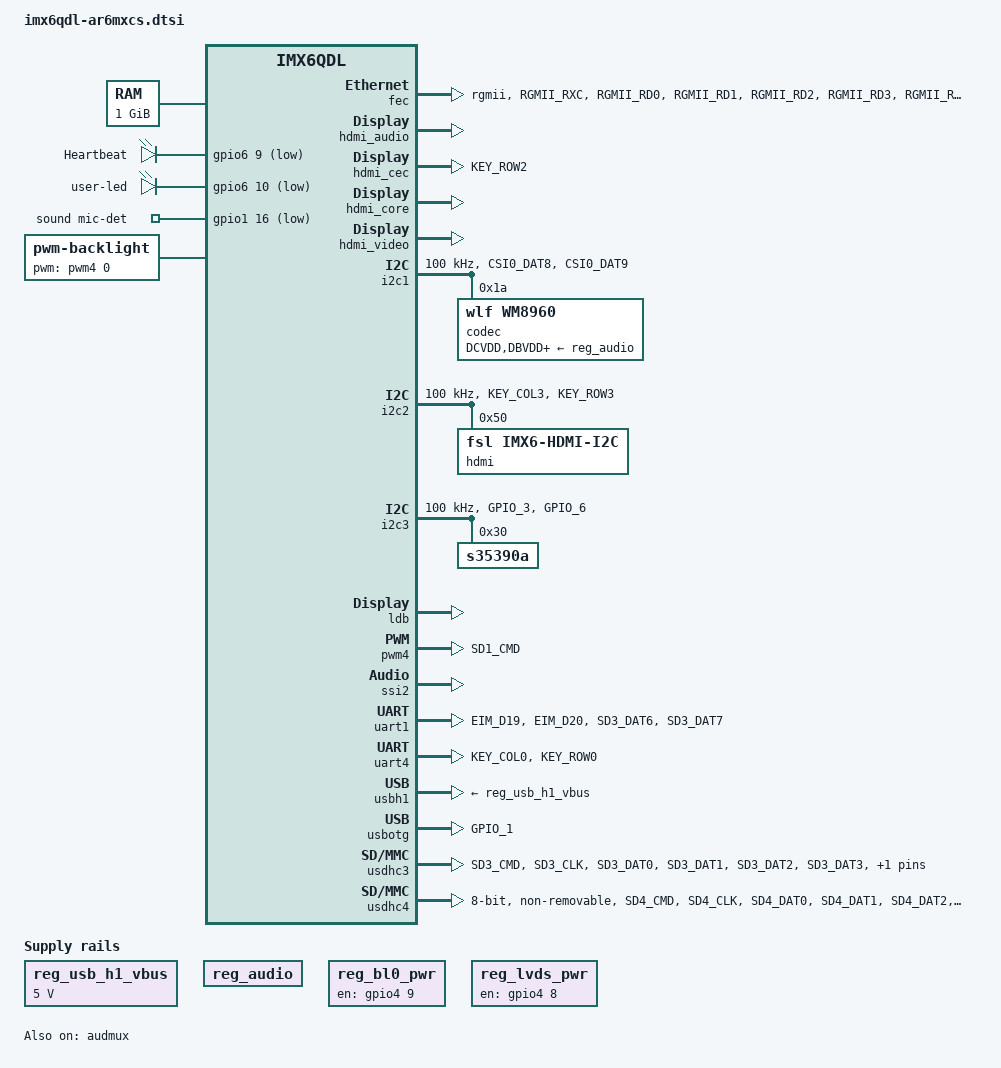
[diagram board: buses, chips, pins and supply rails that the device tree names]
/*
 * Copyright 2014 BCM Advanced Research
 *
 * The code contained herein is licensed under the GNU General Public
 * License. You may obtain a copy of the GNU General Public License
 * Version 2 or later at the following locations:
 *
 * http://www.opensource.org/licenses/gpl-license.html
 * http://www.gnu.org/copyleft/gpl.html
 */

/ {
	aliases {
		mxcfb0 = &mxcfb1;
		mxcfb1 = &mxcfb2;
		mxcfb2 = &mxcfb3;
		mxcfb3 = &mxcfb4;

		vesa_1024x768 = &vesa_1024x768;
		fg_1024x600 = &fg_1024x600;
		vesa_1024x768_2 = &vesa_1024x768_2;
		fg_1024x600_2 = &fg_1024x600_2;
	};

	memory {
		reg = <0x10000000 0x40000000>;
	};

	leds {
		compatible = "gpio-leds";

		heartbeat-led {
			label = "Heartbeat";
			gpios = <&gpio6 9 1>;
			linux,default-trigger = "heartbeat";
		};
		user-led {
			label = "user-led";
			gpios = <&gpio6 10 1>;
			default-state = "off";
		};
	};

	regulators {
		compatible = "simple-bus";

		reg_usb_h1_vbus: usb_h1_vbus {
			compatible = "regulator-fixed";
			regulator-name = "usb_h1_vbus";
			regulator-min-microvolt = <5000000>;
			regulator-max-microvolt = <5000000>;
		};

		reg_audio: wm8960_supply {
			compatible = "regulator-fixed";
			regulator-name = "wm8960-supply";
			regulator-always-on;
		};

		reg_bl0_pwr: bl0_pwr {
			compatible = "regulator-fixed";
			regulator-name = "bl0_pwr";
			gpio = <&gpio4 9 0>;
			enable-active-high;
			regulator-always-on;
			regulator-boot-on;
		};

		reg_lvds_pwr: lvds_pwr {
			compatible = "regulator-fixed";
			regulator-name = "lvds_pwr";
			gpio = <&gpio4 8 0>;
			enable-active-high;
			regulator-always-on;
			regulator-boot-on;
		};
	};

	gpio-keys {
		compatible = "gpio-keys";
	};

	sound {
		compatible = "fsl,imx6q-ar6mx-wm8960",
			   "fsl,imx-audio-wm8960";
		model = "wm8960-audio";
		cpu-dai = <&ssi2>;
		audio-codec = <&codec>;
		codec-master;
		hp-det = <4 0>;
		audio-routing =
			"Headset Jack", "HP_L",
			"Headset Jack", "HP_R",
			"LINPUT1", "MICB";
		mux-int-port = <2>;
		mux-ext-port = <3>;
		mic-det-gpios = <&gpio1 16 1>;
	};

	sound-hdmi {
		compatible = "fsl,imx6q-audio-hdmi",
			     "fsl,imx-audio-hdmi";
		model = "imx-audio-hdmi";
		hdmi-controller = <&hdmi_audio>;
	};

	mxcfb1: fb@0 {
		compatible = "fsl,mxc_sdc_fb";
		disp_dev = "ldb";
		interface_pix_fmt = "RGB666";
		mode_str ="LDB-XGA";
		default_bpp = <16>;
		int_clk = <0>;
		late_init = <0>;
		status = "disabled";
	};

	mxcfb2: fb@1 {
		compatible = "fsl,mxc_sdc_fb";
		disp_dev = "hdmi";
		interface_pix_fmt = "RGB24";
		mode_str ="1920x1080M@60";
		default_bpp = <24>;
		int_clk = <0>;
		late_init = <0>;
		status = "disabled";
	};

	mxcfb3: fb@2 {
		compatible = "fsl,mxc_sdc_fb";
		disp_dev = "lcd";
		interface_pix_fmt = "RGB565";
		mode_str ="CLAA-WVGA";
		default_bpp = <16>;
		int_clk = <0>;
		late_init = <0>;
		status = "disabled";
	};

	mxcfb4: fb@3 {
		compatible = "fsl,mxc_sdc_fb";
		disp_dev = "ldb";
		interface_pix_fmt = "RGB666";
		mode_str ="LDB-XGA";
		default_bpp = <16>;
		int_clk = <0>;
		late_init = <0>;
		status = "disabled";
	};

	lcd@0 {
		compatible = "fsl,lcd";
		ipu_id = <0>;
		disp_id = <0>;
		default_ifmt = "RGB565";
		pinctrl-names = "default";
		pinctrl-0 = <&pinctrl_ipu1>;
		status = "okay";
	};

	backlight {
		compatible = "pwm-backlight";
		pwms = <&pwm4 0 5000000>;
		brightness-levels = <0 4 8 16 32 64 128 255>;
		default-brightness-level = <7>;
	};

	v4l2_cap_0 {
		compatible = "fsl,imx6q-v4l2-capture";
		ipu_id = <0>;
		csi_id = <0>;
		mclk_source = <0>;
		status = "okay";
	};

	v4l2_cap_1 {
		compatible = "fsl,imx6q-v4l2-capture";
		ipu_id = <0>;
		csi_id = <1>;
		mclk_source = <0>;
		status = "okay";
	};

	v4l2_out {
		compatible = "fsl,mxc_v4l2_output";
		status = "okay";
	};

};

&audmux {
	pinctrl-names = "default";
	pinctrl-0 = <&pinctrl_audmux>;
	status = "okay";
};

&cpu0 {
	arm-supply = <&sw1a_reg>;
	soc-supply = <&sw1c_reg>;
	pu-supply = <&pu_dummy>; /* use pu_dummy if VDDSOC share with VDDPU */
};

&fec {
	pinctrl-names = "default";
	pinctrl-0 = <&pinctrl_enet>;
	phy-mode = "rgmii";
	status = "okay";
};

&gpc {
	fsl,ldo-bypass = <1>; /* use ldo-bypass, u-boot will check it and configure */
	fsl,wdog-reset = <2>; /* watchdog select of reset source */
	pu-supply = <&pu_dummy>; /* ldo-bypass:use pu_dummy if VDDSOC share with VDDPU */
};

&hdmi_audio {
	status = "okay";
};

&hdmi_cec {
	pinctrl-names = "default";
	pinctrl-0 = <&pinctrl_hdmi_cec>;
	status = "okay";
};

&hdmi_core {
	ipu_id = <0>;
	disp_id = <0>;
	status = "okay";
};

&hdmi_video {
	fsl,phy_reg_vlev = <0x0294>;
	fsl,phy_reg_cksymtx = <0x800d>;
	status = "okay";
};

&i2c1 {
	clock-frequency = <100000>;
	pinctrl-names = "default";
	pinctrl-0 = <&pinctrl_i2c1>;
	status = "okay";

	codec: wm8960@1a {
		compatible = "wlf,wm8960";
		reg = <0x1a>;
		clocks = <&clks 201>;
		DCVDD-supply = <&reg_audio>;
		DBVDD-supply = <&reg_audio>;
		AVDD-supply = <&reg_audio>;
		MICVDD-supply = <&reg_audio>;
		clock-names = "mclk";
		wlf,shared_lrclk;
  };
};

&i2c2 {
	clock-frequency = <100000>;
	pinctrl-names = "default";
	pinctrl-0 = <&pinctrl_i2c2>;
	status = "okay";

	hdmi: edid@50 {
		compatible = "fsl,imx6-hdmi-i2c";
		reg = <0x50>;
	};
};

&i2c3 {
        clock-frequency = <100000>;
        pinctrl-names = "default";
        pinctrl-0 = <&pinctrl_i2c3>;
        status = "okay";

	s35390a: s35390a@30 {
		compatible = "s35390a";
		reg = <0x30>;
	};
};

&iomuxc {
	pinctrl-names = "default";
	pinctrl-0 = <&pinctrl_hog_1>;

	imx6qdl-ar6mxcs {
		pinctrl_hog_1: hoggrp-1 {
			fsl,pins = <
				MX6QDL_PAD_SD3_DAT5__GPIO7_IO00   0x80000000
				MX6QDL_PAD_NANDF_D0__GPIO2_IO00 0x80000000
				MX6QDL_PAD_NANDF_D1__GPIO2_IO01 0x80000000
				MX6QDL_PAD_NANDF_D2__GPIO2_IO02 0x80000000
				MX6QDL_PAD_NANDF_D3__GPIO2_IO03 0x80000000
				MX6QDL_PAD_NANDF_D4__GPIO2_IO04 0x80000000
				MX6QDL_PAD_NANDF_D5__GPIO2_IO05 0x80000000
				MX6QDL_PAD_NANDF_D6__GPIO2_IO06 0x80000000
				MX6QDL_PAD_NANDF_D7__GPIO2_IO07 0x80000000
				MX6QDL_PAD_NANDF_ALE__GPIO6_IO08 0x80000000
				MX6QDL_PAD_NANDF_WP_B__GPIO6_IO09 0x80000000
				MX6QDL_PAD_NANDF_RB0__GPIO6_IO10 0x80000000
				MX6QDL_PAD_NANDF_CLE__GPIO6_IO07 0x80000000
				MX6QDL_PAD_NANDF_CS2__GPIO6_IO15 0x80000000
				MX6QDL_PAD_NANDF_CS3__GPIO6_IO16 0x80000000
				MX6QDL_PAD_ENET_RXD0__GPIO1_IO27 0x80000000
				MX6QDL_PAD_NANDF_CS0__GPIO6_IO11 0x80000000
				MX6QDL_PAD_GPIO_4__GPIO1_IO04 0x80000000
				MX6QDL_PAD_GPIO_5__GPIO1_IO05 0x80000000
				MX6QDL_PAD_GPIO_9__GPIO1_IO09 0x80000000
				MX6QDL_PAD_GPIO_2__GPIO1_IO02 0x80000000
				MX6QDL_PAD_CSI0_MCLK__CCM_CLKO1    0x130b0
				MX6QDL_PAD_SD1_DAT0__GPIO1_IO16 0x80000000
				MX6QDL_PAD_SD1_CLK__GPIO1_IO20 0x80000000
			>;
		};

		pinctrl_audmux: audmuxgrp {
			fsl,pins = <
				MX6QDL_PAD_CSI0_DAT7__AUD3_RXD		0x130b0
				MX6QDL_PAD_CSI0_DAT4__AUD3_TXC		0x130b0
				MX6QDL_PAD_CSI0_DAT5__AUD3_TXD		0x110b0
				MX6QDL_PAD_CSI0_DAT6__AUD3_TXFS		0x130b0
			>;
		};

		pinctrl_enet: enetgrp {
			fsl,pins = <
				MX6QDL_PAD_RGMII_RXC__RGMII_RXC	        0x1b0b0
				MX6QDL_PAD_RGMII_RD0__RGMII_RD0	        0x1b0b0
				MX6QDL_PAD_RGMII_RD1__RGMII_RD1	        0x1b0b0
				MX6QDL_PAD_RGMII_RD2__RGMII_RD2	        0x1b0b0
				MX6QDL_PAD_RGMII_RD3__RGMII_RD3	        0x1b0b0
				MX6QDL_PAD_RGMII_RX_CTL__RGMII_RX_CTL   0x1b0b0
				MX6QDL_PAD_RGMII_TXC__RGMII_TXC	        0x1b0b0
				MX6QDL_PAD_RGMII_TD0__RGMII_TD0	        0x1b0b0
				MX6QDL_PAD_RGMII_TD1__RGMII_TD1	        0x1b0b0
				MX6QDL_PAD_RGMII_TD2__RGMII_TD2	        0x1b0b0
				MX6QDL_PAD_RGMII_TD3__RGMII_TD3	        0x1b0b0
				MX6QDL_PAD_RGMII_TX_CTL__RGMII_TX_CTL   0x1b0b0
				MX6QDL_PAD_ENET_REF_CLK__ENET_TX_CLK	0x1b0b0
				MX6QDL_PAD_ENET_MDIO__ENET_MDIO	        0x1b0b0
				MX6QDL_PAD_ENET_MDC__ENET_MDC	        0x1b0b0
				MX6QDL_PAD_ENET_CRS_DV__GPIO1_IO25      0x80000000/* GE_nRST	*/
				MX6QDL_PAD_ENET_RXD1__GPIO1_IO26	    0x80000000/* CSI_RST_B  */
				MX6QDL_PAD_ENET_TX_EN__GPIO1_IO28       0x80000000/* PHY_INT	*/
			>;
		};

		pinctrl_hdmi_cec: hdmicecgrp {
			fsl,pins = <
				MX6QDL_PAD_KEY_ROW2__HDMI_TX_CEC_LINE 0x1f8b0
			>;
		};

		pinctrl_i2c1: i2c1grp {
			fsl,pins = <
				MX6QDL_PAD_CSI0_DAT8__I2C1_SDA		0x4001b8b1
				MX6QDL_PAD_CSI0_DAT9__I2C1_SCL		0x4001b8b1
			>;
		};

		pinctrl_i2c2: i2c2grp {
			fsl,pins = <
				MX6QDL_PAD_KEY_COL3__I2C2_SCL		0x4001b8b1
				MX6QDL_PAD_KEY_ROW3__I2C2_SDA		0x4001b8b1
			 >;
		};

		pinctrl_i2c3: i2c3grp {
			fsl,pins = <
				MX6QDL_PAD_GPIO_3__I2C3_SCL		0x4001b8b1
				MX6QDL_PAD_GPIO_6__I2C3_SDA		0x4001b8b1
			>;
		};

		pinctrl_ipu1: ipu1grp {
			fsl,pins = <
				MX6QDL_PAD_DI0_DISP_CLK__IPU1_DI0_DISP_CLK 0x10
				MX6QDL_PAD_DI0_PIN15__IPU1_DI0_PIN15       0x10
				MX6QDL_PAD_DI0_PIN2__IPU1_DI0_PIN02        0x10
				MX6QDL_PAD_DI0_PIN3__IPU1_DI0_PIN03        0x10
				MX6QDL_PAD_DI0_PIN4__IPU1_DI0_PIN04        0x80000000
				MX6QDL_PAD_DISP0_DAT0__IPU1_DISP0_DATA00   0x10
				MX6QDL_PAD_DISP0_DAT1__IPU1_DISP0_DATA01   0x10
				MX6QDL_PAD_DISP0_DAT2__IPU1_DISP0_DATA02   0x10
				MX6QDL_PAD_DISP0_DAT3__IPU1_DISP0_DATA03   0x10
				MX6QDL_PAD_DISP0_DAT4__IPU1_DISP0_DATA04   0x10
				MX6QDL_PAD_DISP0_DAT5__IPU1_DISP0_DATA05   0x10
				MX6QDL_PAD_DISP0_DAT6__IPU1_DISP0_DATA06   0x10
				MX6QDL_PAD_DISP0_DAT7__IPU1_DISP0_DATA07   0x10
				MX6QDL_PAD_DISP0_DAT8__IPU1_DISP0_DATA08   0x10
				MX6QDL_PAD_DISP0_DAT9__IPU1_DISP0_DATA09   0x10
				MX6QDL_PAD_DISP0_DAT10__IPU1_DISP0_DATA10  0x10
				MX6QDL_PAD_DISP0_DAT11__IPU1_DISP0_DATA11  0x10
				MX6QDL_PAD_DISP0_DAT12__IPU1_DISP0_DATA12  0x10
				MX6QDL_PAD_DISP0_DAT13__IPU1_DISP0_DATA13  0x10
				MX6QDL_PAD_DISP0_DAT14__IPU1_DISP0_DATA14  0x10
				MX6QDL_PAD_DISP0_DAT15__IPU1_DISP0_DATA15  0x10
				MX6QDL_PAD_DISP0_DAT16__IPU1_DISP0_DATA16  0x10
				MX6QDL_PAD_DISP0_DAT17__IPU1_DISP0_DATA17  0x10
				MX6QDL_PAD_DISP0_DAT18__IPU1_DISP0_DATA18  0x10
				MX6QDL_PAD_DISP0_DAT19__IPU1_DISP0_DATA19  0x10
				MX6QDL_PAD_DISP0_DAT20__IPU1_DISP0_DATA20  0x10
				MX6QDL_PAD_DISP0_DAT21__IPU1_DISP0_DATA21  0x10
				MX6QDL_PAD_DISP0_DAT22__IPU1_DISP0_DATA22  0x10
				MX6QDL_PAD_DISP0_DAT23__IPU1_DISP0_DATA23  0x10
			>;
		};

		pinctrl_pwm4: pwm4grp {
			fsl,pins = <
				MX6QDL_PAD_SD1_CMD__PWM4_OUT 0x1b0b1
			>;
		};

		pinctrl_uart1: uart1grp {
		fsl,pins = <
			MX6QDL_PAD_EIM_D19__UART1_CTS_B     0x1b0b1
			MX6QDL_PAD_EIM_D20__UART1_RTS_B     0x1b0b1
			MX6QDL_PAD_SD3_DAT6__UART1_RX_DATA  0x1b0b1
			MX6QDL_PAD_SD3_DAT7__UART1_TX_DATA  0x1b0b1
			>;
		};

		pinctrl_uart4: uart4grp {
			fsl,pins = <
				MX6QDL_PAD_KEY_COL0__UART4_TX_DATA  0x1b0b1
				MX6QDL_PAD_KEY_ROW0__UART4_RX_DATA  0x1b0b1
			>;
		};

		pinctrl_usbotg: usbotggrp {
			fsl,pins = <
				MX6QDL_PAD_GPIO_1__USB_OTG_ID	0x17059
			>;
		};

		pinctrl_usdhc3: usdhc3grp {
			fsl,pins = <
				MX6QDL_PAD_SD3_CMD__SD3_CMD       0x17059
				MX6QDL_PAD_SD3_CLK__SD3_CLK       0x10059
				MX6QDL_PAD_SD3_DAT0__SD3_DATA0    0x17059
				MX6QDL_PAD_SD3_DAT1__SD3_DATA1    0x17059
				MX6QDL_PAD_SD3_DAT2__SD3_DATA2    0x17059
				MX6QDL_PAD_SD3_DAT3__SD3_DATA3    0x17059
			>;
		};

		pinctrl_usdhc4: usdhc4grp {
			fsl,pins = <
				MX6QDL_PAD_SD4_CMD__SD4_CMD		0x17059
				MX6QDL_PAD_SD4_CLK__SD4_CLK		0x10059
				MX6QDL_PAD_SD4_DAT0__SD4_DATA0		0x17059
				MX6QDL_PAD_SD4_DAT1__SD4_DATA1		0x17059
				MX6QDL_PAD_SD4_DAT2__SD4_DATA2		0x17059
				MX6QDL_PAD_SD4_DAT3__SD4_DATA3		0x17059
				MX6QDL_PAD_SD4_DAT4__SD4_DATA4		0x17059
				MX6QDL_PAD_SD4_DAT5__SD4_DATA5		0x17059
				MX6QDL_PAD_SD4_DAT6__SD4_DATA6		0x17059
				MX6QDL_PAD_SD4_DAT7__SD4_DATA7		0x17059
			>;
		};

	};
};

&ldb {
	status = "okay";

	lvds-channel@0 {
		fsl,data-mapping = "spwg";
		fsl,data-width = <18>;
		primary;
		status = "okay";

		display-timings {
			fg_1024x600: FG100131DNSWAGL1 {
				clock-frequency = <50400000>;
				hactive = <1024>;
				vactive = <600>;
				hback-porch = <220>;
				hfront-porch = <40>;
				vback-porch = <5>;
				vfront-porch = <10>;
				hsync-len = <60>;
				vsync-len = <10>;
			};
			vesa_1024x768: hsd100pxn1 {
				clock-frequency = <65000000>;
				hactive = <1024>;
				vactive = <768>;
				hback-porch = <220>;
				hfront-porch = <40>;
				vback-porch = <21>;
				vfront-porch = <7>;
				hsync-len = <60>;
				vsync-len = <10>;
			};
			g070_800x480: g070y2-l01 {
				clock-frequency = <29500000>;
				hactive = <800>;
				vactive = <480>;
				hback-porch = <72>;
				hfront-porch = <60>;
				vback-porch = <5>;
				vfront-porch = <5>;
				hsync-len = <60>;
				vsync-len = <10>;
			};
		};
	};

	lvds-channel@1 {
		fsl,data-mapping = "spwg";
		fsl,data-width = <18>;
		status = "okay";

		display-timings {
			fg_1024x600_2: FG100131DNSWAGL1_2 {
				clock-frequency = <50400000>;
				hactive = <1024>;
				vactive = <600>;
				hback-porch = <220>;
				hfront-porch = <40>;
				vback-porch = <5>;
				vfront-porch = <10>;
				hsync-len = <60>;
				vsync-len = <10>;
			};
			vesa_1024x768_2: hsd100pxn1_2 {
				clock-frequency = <65000000>;
				hactive = <1024>;
				vactive = <768>;
				hback-porch = <220>;
				hfront-porch = <40>;
				vback-porch = <21>;
				vfront-porch = <7>;
				hsync-len = <60>;
				vsync-len = <10>;
			};
		};
	};
};


&pcie {
	reset-gpio = <&gpio7 11 0>;
	status = "disabled";
};


&pwm4 {
	pinctrl-names = "default";
	pinctrl-0 = <&pinctrl_pwm4>;
	status = "okay";
};

&ssi2 {
	fsl,mode = "i2s-slave";
	status = "okay";
};

&uart1 {
	pinctrl-names = "default";
	pinctrl-0 = <&pinctrl_uart1>;
	status = "okay";
};

&uart4 {
	pinctrl-names = "default";
	pinctrl-0 = <&pinctrl_uart4>;
	status = "okay";
};

&usbh1 {
	vbus-supply = <&reg_usb_h1_vbus>;
	status = "okay";
};

&usbotg {
	pinctrl-names = "default";
	pinctrl-0 = <&pinctrl_usbotg>;
	disable-over-current;
	status = "okay";
};

&usdhc3 {
	pinctrl-names = "default";
	pinctrl-0 = <&pinctrl_usdhc3>;
	cd-gpios = <&gpio7 0 0>;
	no-1-8-v;
	keep-power-in-suspend;
	enable-sdio-wakeup;
	status = "okay";
};

&usdhc4 {
        pinctrl-names = "default";
        pinctrl-0 = <&pinctrl_usdhc4>;
        bus-width = <8>;
        non-removable;
        no-1-8-v;
	keep-power-in-suspend;
        status = "okay";
};

&vpu {
	pu-supply = <&pu_dummy>; /* ldo-bypass:use pu_dummy if VDDSOC share with VDDPU */
};
